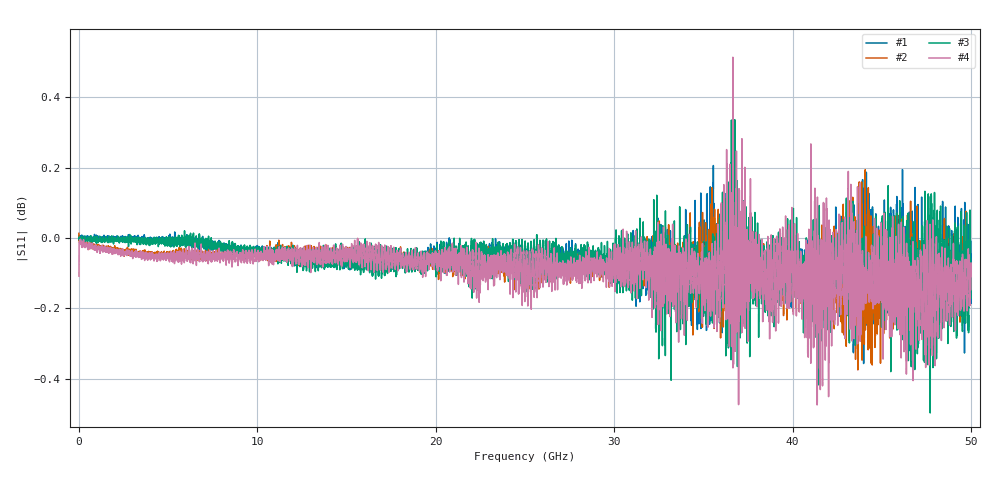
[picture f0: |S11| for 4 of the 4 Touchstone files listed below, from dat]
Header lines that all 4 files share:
!Created with skrf (http://scikit-rf.org).
# Hz S RI R 50.0
!freq ReS11 ImS11
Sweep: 300 kHz to 50 GHz
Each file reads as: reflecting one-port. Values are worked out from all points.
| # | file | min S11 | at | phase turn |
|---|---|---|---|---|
| 1 | drift01_85056_p1O.s1p | -0.4 dB | 43.98 GHz | -814 deg |
| 2 | drift01_85056_p1S.s1p | -0.4 dB | 43.66 GHz | -810 deg |
| 3 | drift01_85056_p2O.s1p | -0.5 dB | 47.71 GHz | -814 deg |
| 4 | drift01_85056_p2S.s1p | -0.5 dB | 41.37 GHz | -811 deg |
